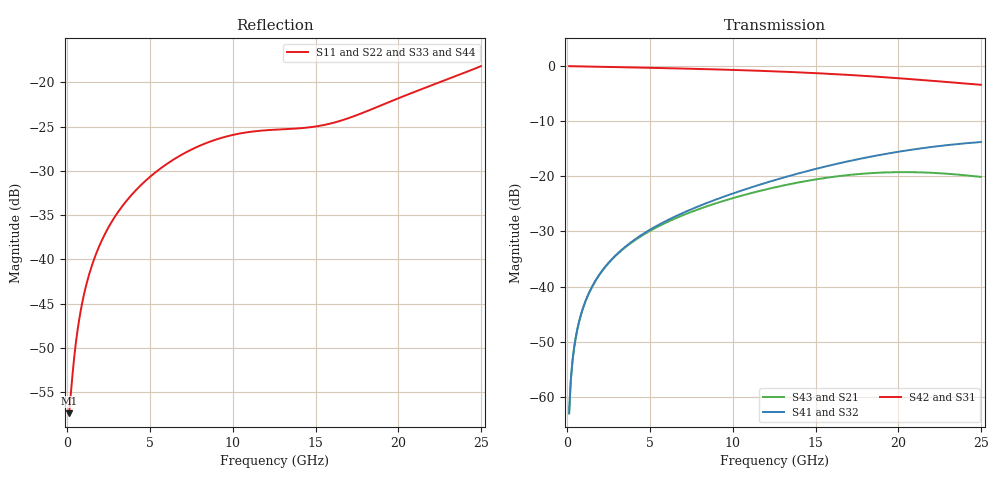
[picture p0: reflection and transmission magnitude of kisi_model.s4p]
! kisi E_s8_L1L8_p1200_round_g2: fast channel model (formula impedances, via model), up to 25 GHz
# Hz S RI R 50
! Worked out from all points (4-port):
!   250 points, 100 MHz to 25 GHz, reference 50 ohm
!   strongest paths, dB at 100 MHz, 6.3 GHz, 12.6 GHz, 18.8 GHz, 25 GHz:
!     S42: 0.0, -0.4, -1.0, -1.9, -3.4
!     S31: 0.0, -0.4, -1.0, -1.9, -3.4
!     S41: -63.0, -27.6, -20.6, -16.2, -13.8
!     S32: -63.0, -27.6, -20.6, -16.2, -13.8
!     S43: -63.0, -27.9, -22.0, -19.3, -20.1
!     S21: -63.0, -27.9, -22.0, -19.3, -20.1
!   lowest |S11| = -57.4 dB at 100 MHz (marker M1), VSWR 1.00, Z = 50.1 - j0.0561 ohm
!   |S11| at or under -10 dB: start of sweep to end of sweep
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1e8  0.00123 -0.000559  4.35e-05 0.000708  0.9973 -0.039  -4.36e-05 -0.000708
     4.35e-05 0.000708  0.00123 -0.000559  -4.36e-05 -0.000708  0.9973 -0.039
     0.9973 -0.039  -4.36e-05 -0.000708  0.00123 -0.000559  4.35e-05 0.000708
     -4.36e-05 -0.000708  0.9973 -0.039  4.35e-05 0.000708  0.00123 -0.000559
4e9  -0.0237 -0.00206  0.0258 -0.00067  0.0715 -0.969  -0.0263 0.000719
     0.0258 -0.00067  -0.0237 -0.00206  -0.0263 0.000719  0.0715 -0.969
     0.0715 -0.969  -0.0263 0.000719  -0.0237 -0.00206  0.0258 -0.00067
     -0.0263 0.000719  0.0715 -0.969  0.0258 -0.00067  -0.0237 -0.00206
7.9e9  -0.0153 0.0406  0.00158 -0.0501  -0.9234 -0.1868  -0.00127 0.0533
       0.00158 -0.0501  -0.0153 0.0406  -0.00127 0.0533  -0.9234 -0.1868
       -0.9234 -0.1868  -0.00127 0.0533  -0.0153 0.0406  0.00158 -0.0501
       -0.00127 0.0533  -0.9234 -0.1868  0.00158 -0.0501  -0.0153 0.0406
1.23e10  0.0402 0.0358  -0.0771 0.0115  -0.1222 0.8901  0.0889 -0.0152
         -0.0771 0.0115  0.0402 0.0358  0.0889 -0.0152  -0.1222 0.8901
         -0.1222 0.8901  0.0889 -0.0152  0.0402 0.0358  -0.0771 0.0115
         0.0889 -0.0152  -0.1222 0.8901  -0.0771 0.0115  0.0402 0.0358
1.66e10  0.0605 -0.00773  0.0363 0.0945  0.8336 0.0864  -0.0524 -0.1224
         0.0363 0.0945  0.0605 -0.00773  -0.0524 -0.1224  0.8336 0.0864
         0.8336 0.0864  -0.0524 -0.1224  0.0605 -0.00773  0.0363 0.0945
         -0.0524 -0.1224  0.8336 0.0864  0.0363 0.0945  0.0605 -0.00773
2.07e10  0.0408 -0.0759  0.0929 -0.0573  0.1108 -0.7544  -0.1406 0.1016
         0.0929 -0.0573  0.0408 -0.0759  -0.1406 0.1016  0.1108 -0.7544
         0.1108 -0.7544  -0.1406 0.1016  0.0408 -0.0759  0.0929 -0.0573
         -0.1406 0.1016  0.1108 -0.7544  0.0929 -0.0573  0.0408 -0.0759
2.5e10  -0.0803 -0.0935  -0.0707 -0.069  -0.671 -0.0861  0.1698 0.1145
        -0.0707 -0.069  -0.0803 -0.0935  0.1698 0.1145  -0.671 -0.0861
        -0.671 -0.0861  0.1698 0.1145  -0.0803 -0.0935  -0.0707 -0.069
        0.1698 0.1145  -0.671 -0.0861  -0.0707 -0.069  -0.0803 -0.0935
